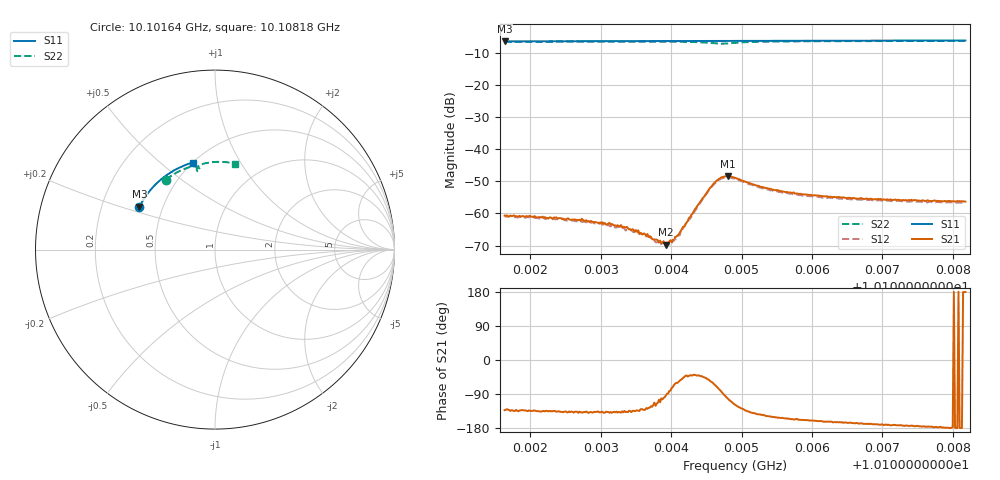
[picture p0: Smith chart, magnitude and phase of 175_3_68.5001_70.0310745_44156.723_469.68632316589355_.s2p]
#  HZ  S  RI  R  50.00
! Rohde & Schwarz Vector Network Analyzer
! Rohde-Schwarz,ZNB20-2Port,1311601062101988,3.16
! Created: UTC 3/20/2024, 4:56:22 PM
! freq[Hz]  re:S11  im:S11  re:S21  im:S21  re:S12  im:S12  re:S22  im:S22
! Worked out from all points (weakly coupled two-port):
!   401 points, 10.10164 GHz to 10.10818 GHz, reference 50 ohm
!   highest |S21| = -48.36 dB at 10.10481 GHz (marker M1); lowest = -69.7 dB at 10.10393 GHz (marker M2)
!   lowest |S11| = -6.3 dB at 10.10164 GHz (marker M3), VSWR 2.88, Z = 18.4 + j11.5 ohm
!   |S11| at or under -10 dB: nowhere
!   |S22| runs from -7.0 to -6.1 dB; largest |S21 - S12| = 0.00038
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1.0101636e10  -0.421 0.2388  -0.000625 -0.000685  -0.000548 -0.00071  -0.274 0.39
1.0102274e10  -0.4021 0.2728  -0.000604 -0.00062  -0.000544 -0.000628  -0.24 0.4139
1.0102732e10  -0.387 0.2962  -0.000616 -0.000553  -0.000503 -0.000537  -0.2139 0.4292
1.0103076e10  -0.3749 0.3132  -0.000485 -0.000463  -0.00047 -0.000497  -0.1936 0.4395
1.0103288e10  -0.3668 0.3234  -0.000496 -0.000434  -0.000397 -0.000445  -0.1805 0.4456
1.0103354e10  -0.3645 0.3267  -0.000446 -0.000408  -0.000345 -0.000415  -0.1763 0.4475
1.0103681e10  -0.3515 0.3417  -0.000255 -0.00035  -0.000237 -0.000362  -0.155 0.4554
1.0103828e10  -0.3455 0.3483  -8.96e-05 -0.00034  -9.4e-05 -0.000347  -0.1446 0.4586
1.0103926e10  -0.3414 0.3527  -2.12e-05 -0.000326  9.73e-06 -0.000333  -0.1374 0.4604
1.0103943e10  -0.3408 0.3533  5.42e-06 -0.000355  2.52e-05 -0.000343  -0.1362 0.4607
1.0103992e10  -0.3388 0.3556  6.21e-05 -0.000378  0.000112 -0.000333  -0.1326 0.4614
1.010409e10  -0.3346 0.3598  0.000223 -0.000396  0.000251 -0.000334  -0.1248 0.4627
1.010445e10  -0.3189 0.3749  0.00124 -0.00122  0.00129 -0.00105  -0.093 0.4576
1.0104613e10  -0.3115 0.3815  0.00129 -0.0027  0.00149 -0.00246  -0.0857 0.4432
1.0104711e10  -0.3071 0.3855  0.000458 -0.00362  0.000717 -0.0034  -0.0914 0.4363
1.010481e10  -0.3028 0.3892  -0.000817 -0.00373  -0.00049 -0.0036  -0.0996 0.4391
1.0104908e10  -0.2982 0.3931  -0.00169 -0.00319  -0.00134 -0.00317  -0.1022 0.4483
1.0105218e10  -0.2836 0.4049  -0.00217 -0.00164  -0.00193 -0.00176  -0.0847 0.4699
1.0105464e10  -0.2715 0.4138  -0.00202 -0.00115  -0.00184 -0.00129  -0.0667 0.4777
1.0106004e10  -0.2443 0.432  -0.0018 -0.00067  -0.00168 -0.000798  -0.0289 0.4857
1.01071e10  -0.1856 0.4628  -0.0016 -0.000227  -0.00153 -0.000397  0.0436 0.4883
1.0108179e10  -0.1242 0.4852  -0.00153 9.99e-06  -0.00148 -0.000121  0.1127 0.4796
